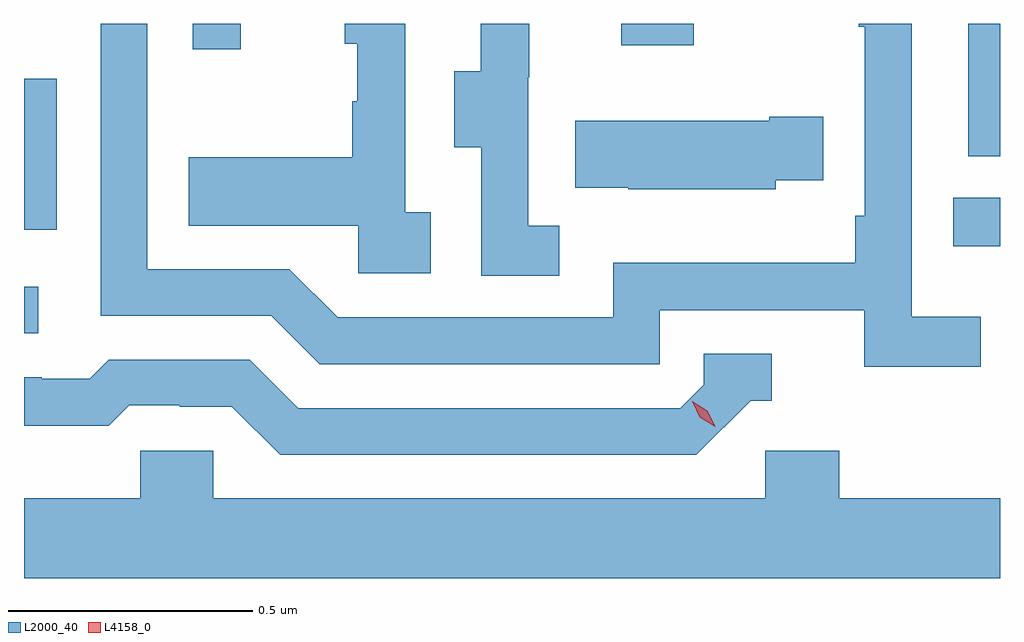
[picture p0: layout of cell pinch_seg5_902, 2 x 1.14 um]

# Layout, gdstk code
import gdstk
lib = gdstk.Library(unit=1e-6, precision=1e-09)
def R(c, l, rs):  # rectangles x0, y0, x1, y1
    for r in rs: c.add(gdstk.rectangle(r[:2], r[2:], *l))
def P(c, l, *ps):  # polygons
    for p in ps: c.add(gdstk.Polygon(p, *l))
L2000_40 = (2000, 40)
L4158_0 = (4158, 0)

pinch_seg5_902 = lib.new_cell('pinch_seg5_902')
R(pinch_seg5_902, L2000_40, [(856.733,882.57,856.762,882.666), (858.637,882.749,858.733,882.848), (856.733,882.783,856.8,883.092), (858.668,882.933,858.733,883.205), (857.079,883.152,857.177,883.205), (857.957,883.161,858.105,883.205)])
P(pinch_seg5_902, L2000_40, [(858.694,882.604),(858.552,882.604),(858.552,883.205),(858.444,883.205),(858.444,883.199),(858.456,883.199),(858.456,882.811),(858.436,882.811),(858.436,882.715),(857.94,882.715),(857.94,882.603),(857.376,882.603),(857.277,882.702),(856.986,882.702),(856.986,883.205),(856.89,883.205),(856.89,882.606),(857.24,882.606),(857.339,882.507),(858.036,882.507),(858.036,882.618),(858.455,882.618),(858.455,882.502),(858.694,882.502)],
  [(857.83,882.791),(857.766,882.791),(857.766,883.095),(857.768,883.095),(857.768,883.205),(857.669,883.205),(857.669,883.107),(857.615,883.107),(857.615,882.952),(857.67,882.952),(857.67,882.688),(857.83,882.688)],
  [(857.566,882.818),(857.514,882.818),(857.514,883.205),(857.39,883.205),(857.39,883.164),(857.416,883.164),(857.416,883.046),(857.406,883.046),(857.406,882.931),(857.071,882.931),(857.071,882.791),(857.418,882.791),(857.418,882.693),(857.566,882.693)],
  [(858.273,882.884),(858.371,882.884),(858.371,883.014),(858.26,883.014),(858.26,883.006),(857.863,883.006),(857.863,882.869),(857.971,882.869),(857.971,882.866),(858.273,882.866)],
  [(858.222,882.432),(858.265,882.432),(858.265,882.528),(858.126,882.528),(858.126,882.465),(858.078,882.417),(857.295,882.417),(857.196,882.516),(856.907,882.516),(856.868,882.477),(856.769,882.477),(856.769,882.48),(856.733,882.48),(856.733,882.381),(856.907,882.381),(856.949,882.423),(857.052,882.423),(857.052,882.42),(857.159,882.42),(857.258,882.321),(858.111,882.321)],
  [(858.733,882.232),(858.404,882.232),(858.404,882.33),(858.252,882.33),(858.252,882.232),(857.121,882.232),(857.121,882.33),(856.971,882.33),(856.971,882.232),(856.733,882.232),(856.733,882.068),(858.733,882.068)])
P(pinch_seg5_902, L4158_0, [(858.149,882.379),(858.118,882.398),(858.102,882.431),(858.102,882.431),(858.102,882.431),(858.133,882.412),(858.15,882.38),(858.15,882.379)])

lib.write_gds('pinch_seg5_902.gds')
